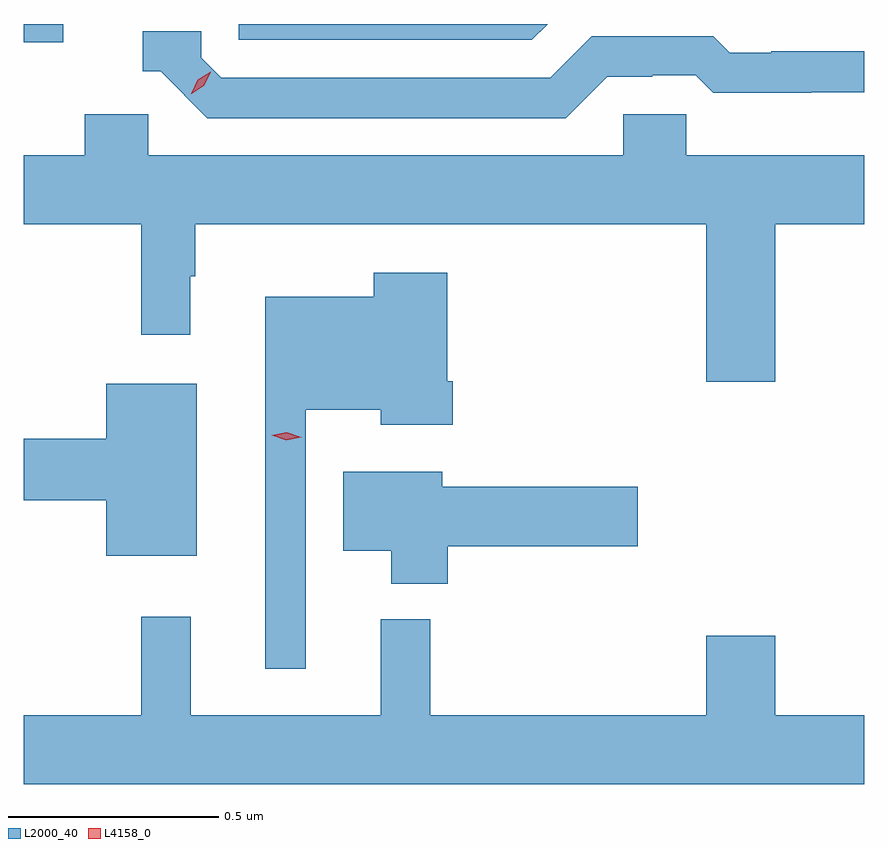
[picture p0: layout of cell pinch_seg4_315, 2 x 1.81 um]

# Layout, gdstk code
import gdstk
lib = gdstk.Library(unit=1e-6, precision=1e-09)
def R(c, l, rs):  # rectangles x0, y0, x1, y1
    for r in rs: c.add(gdstk.rectangle(r[:2], r[2:], *l))
def P(c, l, *ps):  # polygons
    for p in ps: c.add(gdstk.Polygon(p, *l))
L2000_40 = (2000, 40)
L4158_0 = (4158, 0)

pinch_seg4_315 = lib.new_cell('pinch_seg4_315')
R(pinch_seg4_315, L2000_40, [(942.604,799.918,942.698,799.961)])
P(pinch_seg4_315, L2000_40, [(943.851,799.961),(943.116,799.961),(943.116,799.923),(943.813,799.923)],
  [(943.993,799.836),(944.1,799.836),(944.1,799.839),(944.203,799.839),(944.245,799.797),(944.478,799.797),(944.478,799.799),(944.604,799.799),(944.604,799.896),(944.383,799.896),(944.383,799.893),(944.284,799.893),(944.245,799.932),(943.956,799.932),(943.857,799.833),(943.074,799.833),(943.026,799.881),(943.026,799.944),(942.887,799.944),(942.887,799.848),(942.93,799.848),(943.041,799.737),(943.894,799.737)],
  [(944.392,799.484),(944.604,799.484),(944.604,799.648),(944.181,799.648),(944.181,799.746),(944.031,799.746),(944.031,799.648),(942.9,799.648),(942.9,799.746),(942.749,799.746),(942.749,799.648),(942.604,799.648),(942.604,799.484),(942.883,799.484),(942.883,799.221),(943,799.221),(943,799.361),(943.012,799.361),(943.012,799.484),(944.228,799.484),(944.228,799.11),(944.392,799.11)],
  [(943.275,799.043),(943.454,799.043),(943.454,799.007),(943.625,799.007),(943.625,799.111),(943.612,799.111),(943.612,799.369),(943.437,799.369),(943.437,799.312),(943.178,799.312),(943.178,798.426),(943.275,798.426)],
  [(943.015,799.105),(942.8,799.105),(942.8,798.974),(942.604,798.974),(942.604,798.827),(942.8,798.827),(942.8,798.695),(943.015,798.695)],
  [(943.613,798.718),(944.065,798.718),(944.065,798.86),(943.6,798.86),(943.6,798.895),(943.364,798.895),(943.364,798.707),(943.478,798.707),(943.478,798.629),(943.613,798.629)],
  [(944.604,798.316),(944.392,798.316),(944.392,798.505),(944.228,798.505),(944.228,798.316),(943.571,798.316),(943.571,798.544),(943.454,798.544),(943.454,798.316),(943.001,798.316),(943.001,798.55),(942.883,798.55),(942.883,798.316),(942.604,798.316),(942.604,798.152),(944.604,798.152)])
P(pinch_seg4_315, L4158_0, [(943.228,798.97),(943.194,798.982),(943.193,798.982),(943.194,798.982),(943.23,798.989),(943.264,798.977),(943.265,798.977),(943.264,798.977)],
  [(943.002,799.795),(943.002,799.795),(943.018,799.828),(943.049,799.847),(943.049,799.847),(943.049,799.847),(943.033,799.815),(943.003,799.795)])

lib.write_gds('pinch_seg4_315.gds')
